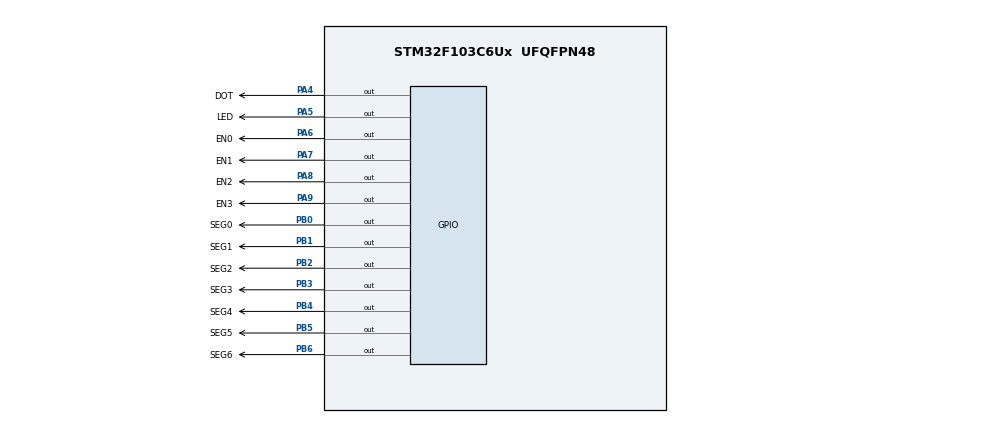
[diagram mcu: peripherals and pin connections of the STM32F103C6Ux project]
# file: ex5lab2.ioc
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Mcu.Family=STM32F1
Mcu.Name=STM32F103C6Ux
Mcu.Package=UFQFPN48
NVIC.PriorityGroup=NVIC_PRIORITYGROUP_4
NVIC.TIM2_IRQn=true\:0\:0\:false\:false\:true\:true\:true
PA4.GPIO_Label=DOT
PA4.Signal=GPIO_Output
PA5.GPIO_Label=LED
PA5.Signal=GPIO_Output
PA6.GPIO_Label=EN0
PA6.Signal=GPIO_Output
PA7.GPIO_Label=EN1
PA7.Signal=GPIO_Output
PA8.GPIO_Label=EN2
PA8.Signal=GPIO_Output
PA9.GPIO_Label=EN3
PA9.Signal=GPIO_Output
PB0.GPIO_Label=SEG0
PB0.Signal=GPIO_Output
PB1.GPIO_Label=SEG1
PB1.Signal=GPIO_Output
PB2.GPIO_Label=SEG2
PB2.Signal=GPIO_Output
PB3.GPIO_Label=SEG3
PB3.Signal=GPIO_Output
PB4.GPIO_Label=SEG4
PB4.Signal=GPIO_Output
PB5.GPIO_Label=SEG5
PB5.Signal=GPIO_Output
PB6.GPIO_Label=SEG6
PB6.Signal=GPIO_Output
ProjectManager.HeapSize=0x200
ProjectManager.StackSize=0x400
ProjectManager.TargetToolchain=STM32CubeIDE
RCC.APB1Freq_Value=8000000
RCC.APB2Freq_Value=8000000
TIM2.Period=9
TIM2.Prescaler=7999
VP_SYS_VS_ND.Mode=No_Debug
VP_TIM2_VS_ClockSourceINT.Mode=Internal
board=custom

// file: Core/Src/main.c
/* USER CODE BEGIN Header */
/**
  ******************************************************************************
  * @file           : main.c
  * @brief          : Lab 2 - Exercise 5: Digital Clock Implementation
  ******************************************************************************
  */
/* USER CODE END Header */

#include "main.h"

TIM_HandleTypeDef htim2;

/* USER CODE BEGIN PV */
// --- Khai báo Software Timers ---
int timer1_counter = 0;
int timer1_flag = 0;

int timer2_counter = 0;
int timer2_flag = 0;

// --- Biến lưu trữ thời gian đồng hồ ---
int hour = 15;
int minute = 8;
int second = 50;

// --- Biến hiển thị LED 7-đoạn ---
int index_led = 0;
int led_buffer[4] = {1, 5, 0, 8}; // Giá trị hiển thị ban đầu (15:08)
/* USER CODE END PV */

void SystemClock_Config(void);
static void MX_GPIO_Init(void);
static void MX_TIM2_Init(void);

void setTimer1(int duration);
void setTimer2(int duration);
void timerRun(void);

void display7SEG(int num);
void update7SEG(int index);
void updateClockBuffer(void);

/* USER CODE BEGIN 0 */
// --- HÀM KHỞI TẠO SOFTWARE TIMERS ---
void setTimer1(int duration) {
    timer1_counter = duration; // duration x 10ms
    timer1_flag = 0;
}

void setTimer2(int duration) {
    timer2_counter = duration; // duration x 10ms
    timer2_flag = 0;
}

// --- HÀM CHẠY TIMER (Gọi trong Ngắt Hardware TIM2) ---
void timerRun(void) {
    if (timer1_counter > 0) {
        timer1_counter--;
        if (timer1_counter <= 0) {
            timer1_flag = 1; // Bật cờ báo hết giờ cho Timer 1
        }
    }

    if (timer2_counter > 0) {
        timer2_counter--;
        if (timer2_counter <= 0) {
            timer2_flag = 1; // Bật cờ báo hết giờ cho Timer 2
        }
    }
}

// --- HÀM CẬP NHẬT DỮ LIỆU ĐỒNG HỒ VÀO MẢNG LED BUFFER ---
void updateClockBuffer(void) {
    second++;
    if (second >= 60) {
        second = 0;
        minute++;
        if (minute >= 60) {
            minute = 0;
            hour++;
            if (hour >= 24) {
                hour = 0;
            }
        }
    }

    // Tách chữ số hàng chục và hàng đơn vị cho Giờ & Phút
    led_buffer[0] = hour / 10;
    led_buffer[1] = hour % 10;
    led_buffer[2] = minute / 10;
    led_buffer[3] = minute % 10;
}

// --- HÀM HIỂN THỊ MÃ 7 ĐOẠN (BINARY) ---
void display7SEG(int num) {
    uint8_t segmentNumber[10] = {
        0b00111111, // 0
        0b00000110, // 1
        0b01011011, // 2
        0b01001111, // 3
        0b01100110, // 4
        0b01101101, // 5
        0b01111101, // 6
        0b00000111, // 7
        0b01111111, // 8
        0b01101111  // 9
    };

    if (num >= 0 && num <= 9) {
        uint8_t data = ~segmentNumber[num]; // Đảo bit cho Anode chung (0 là SÁNG)
        for (int i = 0; i < 7; i++) {
            HAL_GPIO_WritePin(GPIOB, GPIO_PIN_0 << i, (data >> i) & 0x01);
        }
    }
}

// --- HÀM CẬP NHẬT LED THEO INDEX ---
void update7SEG(int index) {
    // Tắt tất cả 4 Transistor PNP trước (Khóa mức HIGH)
    HAL_GPIO_WritePin(GPIOA, GPIO_PIN_6 | GPIO_PIN_7 | GPIO_PIN_8 | GPIO_PIN_9, GPIO_PIN_SET);

    // Kích mở LED tương ứng (Mức LOW) và xuất dữ liệu từ led_buffer
    switch (index) {
        case 0:
            display7SEG(led_buffer[0]);
            HAL_GPIO_WritePin(GPIOA, GPIO_PIN_6, GPIO_PIN_RESET); // PA6 - EN0
            break;
        case 1:
            display7SEG(led_buffer[1]);
            HAL_GPIO_WritePin(GPIOA, GPIO_PIN_7, GPIO_PIN_RESET); // PA7 - EN1
            break;
        case 2:
            display7SEG(led_buffer[2]);
            HAL_GPIO_WritePin(GPIOA, GPIO_PIN_8, GPIO_PIN_RESET); // PA8 - EN2
            break;
        case 3:
            display7SEG(led_buffer[3]);
            HAL_GPIO_WritePin(GPIOA, GPIO_PIN_9, GPIO_PIN_RESET); // PA9 - EN3
            break;
        default:
            break;
    }
}
/* USER CODE END 0 */

int main(void)
{
  HAL_Init();
  SystemClock_Config();

  MX_GPIO_Init();
  MX_TIM2_Init();

  /* Kích hoạt Ngắt Timer 2 */
  HAL_TIM_Base_Start_IT(&htim2);

  /* Cấu hình thời gian ban đầu cho 2 Software Timer */
  setTimer1(25);  // 25 x 10ms = 250ms cho việc chuyển LED 7-đoạn
  setTimer2(100); // 100 x 10ms = 1000ms cho việc cập nhật đồng hồ & chớp tắt LED DOT

  while (1)
  {
    /* 1. Xử lý Quét LED 7-đoạn khi Software Timer 1 hết giờ */
    if (timer1_flag == 1) {
        setTimer1(25); // Re-arm timer1: Đặt lại timer 250ms cho lần tiếp theo

        update7SEG(index_led);
        index_led++;
        if (index_led >= 4) {
            index_led = 0;
        }
    }

    /* 2. Xử lý Cập nhật Đồng hồ & Chớp tắt LED DOT khi Software Timer 2 hết giờ */
    if (timer2_flag == 1) {
        setTimer2(100); // Re-arm timer2: Đặt lại timer 1000ms cho lần tiếp theo

        updateClockBuffer();                    // Cập nhật đếm giây/phút/giờ vào led_buffer
        HAL_GPIO_TogglePin(GPIOA, GPIO_PIN_4); // Đảo trạng thái chân PA4 (DOT)
    }
  }
}

void SystemClock_Config(void)
{
  RCC_OscInitTypeDef RCC_OscInitStruct = {0};
  RCC_ClkInitTypeDef RCC_ClkInitStruct = {0};

  RCC_OscInitStruct.OscillatorType = RCC_OSCILLATORTYPE_HSI;
  RCC_OscInitStruct.HSIState = RCC_HSI_ON;
  RCC_OscInitStruct.HSICalibrationValue = RCC_HSICALIBRATION_DEFAULT;
  RCC_OscInitStruct.PLL.PLLState = RCC_PLL_NONE;
  if (HAL_RCC_OscConfig(&RCC_OscInitStruct) != HAL_OK)
  {
    Error_Handler();
  }

  RCC_ClkInitStruct.ClockType = RCC_CLOCKTYPE_HCLK|RCC_CLOCKTYPE_SYSCLK
                              |RCC_CLOCKTYPE_PCLK1|RCC_CLOCKTYPE_PCLK2;
  RCC_ClkInitStruct.SYSCLKSource = RCC_SYSCLKSOURCE_HSI;
  RCC_ClkInitStruct.AHBCLKDivider = RCC_SYSCLK_DIV1;
  RCC_ClkInitStruct.APB1CLKDivider = RCC_HCLK_DIV1;
  RCC_ClkInitStruct.APB2CLKDivider = RCC_HCLK_DIV1;

  if (HAL_RCC_ClockConfig(&RCC_ClkInitStruct, FLASH_LATENCY_0) != HAL_OK)
  {
    Error_Handler();
  }
}

static void MX_TIM2_Init(void)
{
  TIM_ClockConfigTypeDef sClockSourceConfig = {0};
  TIM_MasterConfigTypeDef sMasterConfig = {0};

  htim2.Instance = TIM2;
  htim2.Init.Prescaler = 7999; // 8MHz / 8000 = 1000Hz (1ms)
  htim2.Init.CounterMode = TIM_COUNTERMODE_UP;
  htim2.Init.Period = 9;       // Tần số ngắt 10ms/lần
  htim2.Init.ClockDivision = TIM_CLOCKDIVISION_DIV1;
  htim2.Init.AutoReloadPreload = TIM_AUTORELOAD_PRELOAD_DISABLE;
  if (HAL_TIM_Base_Init(&htim2) != HAL_OK)
  {
    Error_Handler();
  }
  sClockSourceConfig.ClockSource = TIM_CLOCKSOURCE_INTERNAL;
  if (HAL_TIM_ConfigClockSource(&htim2, &sClockSourceConfig) != HAL_OK)
  {
    Error_Handler();
  }
  sMasterConfig.MasterOutputTrigger = TIM_TRGO_RESET;
  sMasterConfig.MasterSlaveMode = TIM_MASTERSLAVEMODE_DISABLE;
  if (HAL_TIMEx_MasterConfigSynchronization(&htim2, &sMasterConfig) != HAL_OK)
  {
    Error_Handler();
  }
}

static void MX_GPIO_Init(void)
{
  GPIO_InitTypeDef GPIO_InitStruct = {0};

  /* Enable Clocks */
  __HAL_RCC_GPIOA_CLK_ENABLE();
  __HAL_RCC_GPIOB_CLK_ENABLE();
  __HAL_RCC_AFIO_CLK_ENABLE();

  /* Tắt JTAG để sử dụng PB3, PB4 làm GPIO */
  __HAL_AFIO_REMAP_SWJ_NOJTAG();

  /* Trạng thái ban đầu: Tắt 4 PNP (HIGH) và Tắt LED DOT (LOW) */
  HAL_GPIO_WritePin(GPIOA, GPIO_PIN_4 | GPIO_PIN_5, GPIO_PIN_RESET);
  HAL_GPIO_WritePin(GPIOA, GPIO_PIN_6 | GPIO_PIN_7 | GPIO_PIN_8 | GPIO_PIN_9, GPIO_PIN_SET);

  /* Trạng thái ban đầu bus 7 đoạn */
  HAL_GPIO_WritePin(GPIOB, GPIO_PIN_0 | GPIO_PIN_1 | GPIO_PIN_2 | GPIO_PIN_3
                          | GPIO_PIN_4 | GPIO_PIN_5 | GPIO_PIN_6, GPIO_PIN_RESET);

  /* Configure GPIO pins : PA4 (DOT), PA5 (LED), PA6 (EN0), PA7 (EN1), PA8 (EN2), PA9 (EN3) */
  GPIO_InitStruct.Pin = GPIO_PIN_4 | GPIO_PIN_5 | GPIO_PIN_6 | GPIO_PIN_7 | GPIO_PIN_8 | GPIO_PIN_9;
  GPIO_InitStruct.Mode = GPIO_MODE_OUTPUT_PP;
  GPIO_InitStruct.Pull = GPIO_NOPULL;
  GPIO_InitStruct.Speed = GPIO_SPEED_FREQ_LOW;
  HAL_GPIO_Init(GPIOA, &GPIO_InitStruct);

  /* Configure GPIO pins : PB0 -> PB6 (SEG0 -> SEG6) */
  GPIO_InitStruct.Pin = GPIO_PIN_0 | GPIO_PIN_1 | GPIO_PIN_2 | GPIO_PIN_3
                          | GPIO_PIN_4 | GPIO_PIN_5 | GPIO_PIN_6;
  GPIO_InitStruct.Mode = GPIO_MODE_OUTPUT_PP;
  GPIO_InitStruct.Pull = GPIO_NOPULL;
  GPIO_InitStruct.Speed = GPIO_SPEED_FREQ_LOW;
  HAL_GPIO_Init(GPIOB, &GPIO_InitStruct);
}

/* USER CODE BEGIN 4 */
// Callback Ngắt Timer 2 (Xảy ra đúng 10ms/lần)
void HAL_TIM_PeriodElapsedCallback(TIM_HandleTypeDef *htim) {
    if (htim->Instance == TIM2) {
        // Chỉ làm duy nhất công việc cập nhật đếm cho các Software Timer
        timerRun();
    }
}
/* USER CODE END 4 */

void Error_Handler(void)
{
  __disable_irq();
  while (1)
  {
  }
}
